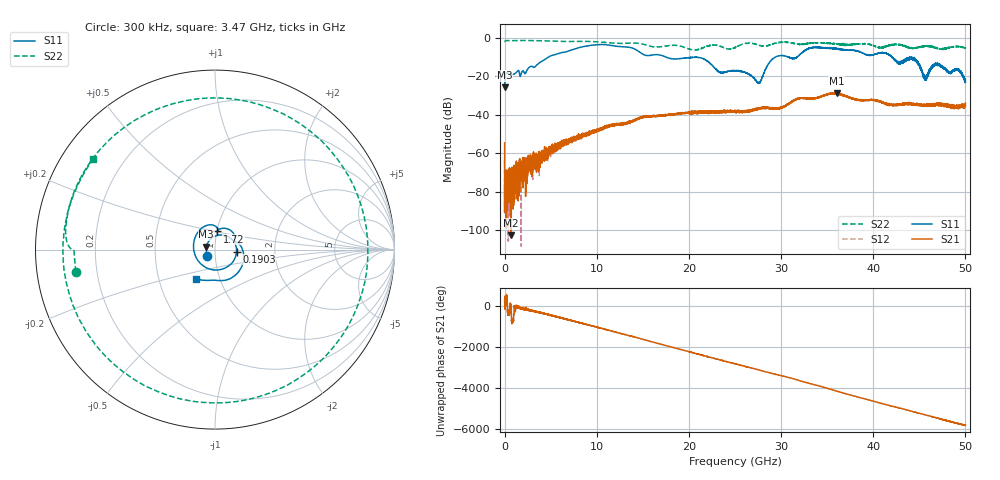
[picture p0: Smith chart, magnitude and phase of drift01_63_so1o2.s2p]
!Created with skrf (http://scikit-rf.org).
# Hz S RI R 50.0
!freq ReS11 ImS11 ReS21 ImS21 ReS12 ImS12 ReS22 ImS22
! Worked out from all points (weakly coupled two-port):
!   10001 points, 300 kHz to 50 GHz, reference 50 ohm
!   highest |S21| = -28.67 dB at 36.03 GHz (marker M1); lowest = -102.9 dB at 690.3 MHz (marker M2)
!   lowest |S11| = -25.8 dB at 5.3 MHz (marker M3), VSWR 1.11, Z = 45.3 + j1.43 ohm
!   |S11| at or under -10 dB: start of sweep to 4.766 GHz; 17.51 GHz to 29.37 GHz (11.86 GHz wide, 50.6 % of centre); 44.17 GHz to end of sweep (the widest 3 of 10)
!   |S22| runs from -6.3 to -1.3 dB; largest |S21 - S12| = 0.0044
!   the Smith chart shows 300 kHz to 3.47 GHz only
!   S11 on the Smith chart (normalised r, x): 300 kHz: 0.91, -0.07; 190.3 MHz: 1.27, -0.03; 1.72 GHz: 1.00, +0.20; 3.47 GHz: 0.77, -0.26
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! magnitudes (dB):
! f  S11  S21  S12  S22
! 300 kHz  -24.4  -54.6  -63.8  -2.1
! 5.3 MHz  -25.8  -90.8  -70.2  -2.1
! 190.3 MHz  -18.3  -74.0  -73.5  -1.4
! 690.3 MHz  -19.0  -102.9  -69.0  -1.5
! 1.72 GHz  -19.9  -74.4  -66.6  -1.4
! 3.47 GHz  -14.3  -62.9  -64.5  -1.5
! 8.335 GHz  -4.8  -50.4  -51.8  -1.8
! 16.67 GHz  -8.8  -40.7  -40.6  -4.8
! 21.2 GHz  -10.3  -39.2  -38.9  -5.8
! 23.38 GHz  -18.1  -38.4  -38.4  -4.3
! 25 GHz  -17.0  -38.3  -38.4  -5.0
! 27.59 GHz  -23.2  -37.0  -36.8  -3.7
! 29.28 GHz  -10.3  -36.4  -36.9  -2.9
! 31.47 GHz  -10.7  -32.3  -32.2  -2.9
! 33.34 GHz  -5.1  -31.8  -31.5  -2.6
! 36.03 GHz  -5.6  -28.7  -29.2  -3.1
! 41.67 GHz  -8.6  -34.3  -34.8  -3.8
! 42.79 GHz  -12.8  -34.6  -35.0  -3.5
! 44.49 GHz  -11.1  -34.9  -34.6  -5.3
! 45.63 GHz  -20.1  -35.1  -35.0  -4.2
! 46.96 GHz  -13.2  -34.3  -34.8  -5.4
! 50 GHz  -22.0  -34.0  -35.1  -5.2
